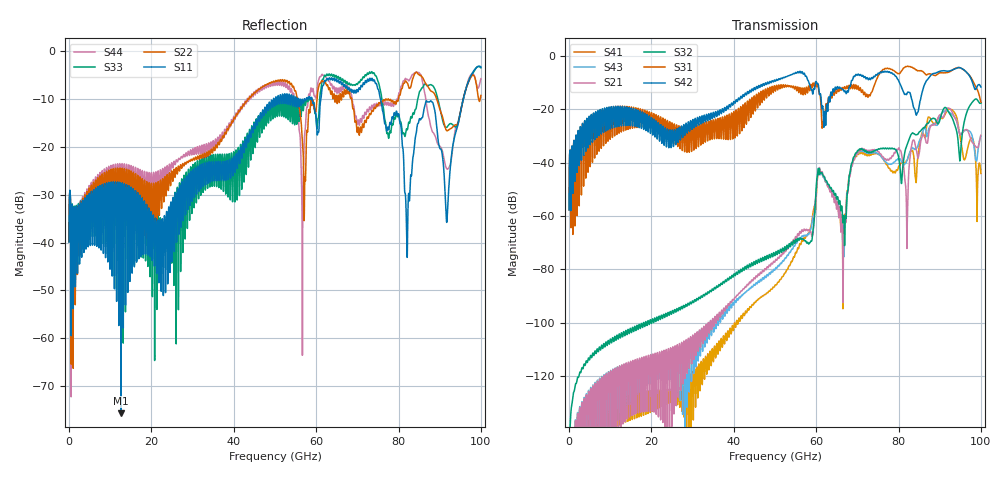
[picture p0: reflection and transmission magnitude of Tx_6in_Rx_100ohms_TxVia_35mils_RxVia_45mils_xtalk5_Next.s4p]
! Info: Touchstone file created by Circ.  Input file=Tx_6in_Rx_100ohms_TxVia_35mils_RxVia_45mils.circ
# Hz S RI R 50
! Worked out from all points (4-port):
!   10000 points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, 10 MHz to 100 GHz, reference 50 ohm
!   strongest paths, dB at 10 MHz, 25.01 GHz, 50.01 GHz, 75.01 GHz, 100 GHz:
!     S42: -57.7, -28.0, -9.3, -6.6, -11.7
!     S31: -57.7, -25.1, -12.5, -7.7, -17.3
!     S32: -162.2, -95.8, -74.7, -35.0, -17.8
!     S21: -175.5, -115.7, -77.0, -35.9, -29.7
!     S43: -175.4, -113.9, -80.1, -36.5, -30.2
!     S41: -180.8, -125.2, -85.9, -36.7, -44.0
!   lowest |S11| = -75.7 dB at 12.62 GHz (marker M1), VSWR 1.00, Z = 50 + j0.00856 ohm
!   |S11| at or under -10 dB: start of sweep to 49.64 GHz; 59 GHz to 61.15 GHz (2.148 GHz wide, 3.57 % of centre); 75.65 GHz to 95.72 GHz (20.08 GHz wide, 23.4 % of centre) (the widest 3 of 18)
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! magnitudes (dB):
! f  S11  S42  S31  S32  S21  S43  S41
! 10 MHz  -39.9  -57.7  -57.7  -162.2  -175.5  -175.4  -180.8
! 12.62 GHz  -75.7  -24.1  -25.4  -104.3  -122.4  -123.4  -137.3
! 52.73 GHz  -10.4  -7.8  -11.6  -72.3  -72.6  -75.6  -80.5
! 60.84 GHz  -13.1  -14.5  -14.5  -42.8  -42.2  -43.0  -42.7
! 66.4 GHz  -6.6  -12.6  -11.9  -60.6  -63.5  -67.8  -69.7
! 91.74 GHz  -35.7  -5.8  -6.3  -19.9  -19.7  -20.6  -20.6
! 100 GHz  -3.3  -11.7  -17.3  -17.8  -29.7  -30.2  -44.0
